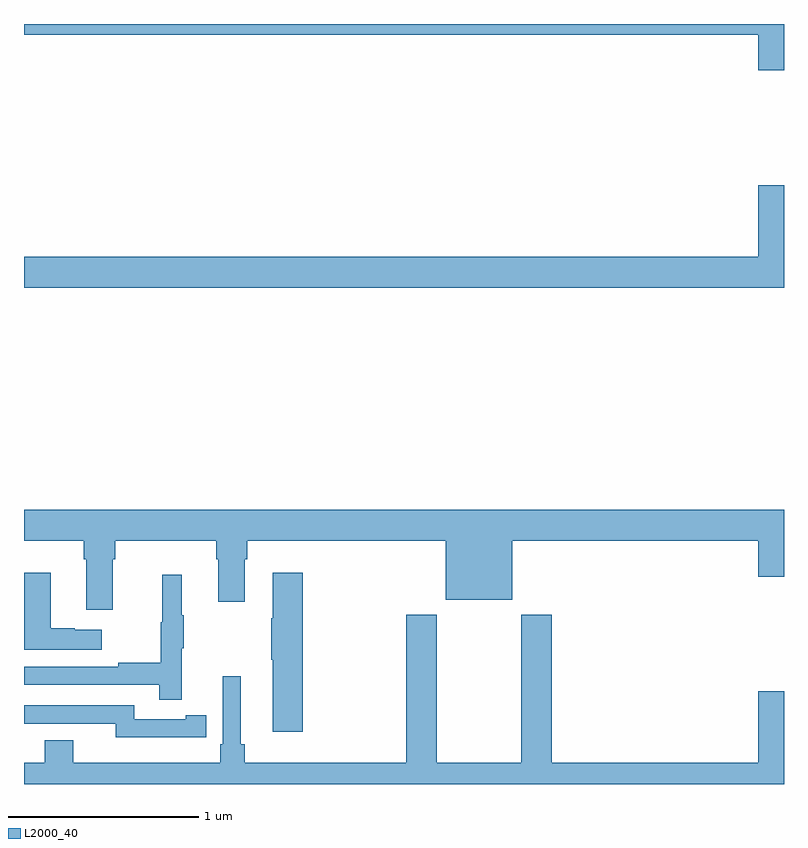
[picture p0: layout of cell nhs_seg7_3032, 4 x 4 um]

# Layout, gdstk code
import gdstk
lib = gdstk.Library(unit=1e-6, precision=1e-09)
def P(c, l, *ps):  # polygons
    for p in ps: c.add(gdstk.Polygon(p, *l))
L2000_40 = (2000, 40)

nhs_seg7_3032 = lib.new_cell('nhs_seg7_3032')
P(nhs_seg7_3032, L2000_40, [(305,1005.944),(308.864,1005.944),(308.864,1005.756),(309,1005.756),(309,1006),(305,1006)],
  [(309,1005.151),(308.864,1005.151),(308.864,1004.776),(305,1004.776),(305,1004.612),(309,1004.612)],
  [(305.467,1003.184),(305.48,1003.184),(305.48,1003.28),(306.011,1003.28),(306.011,1003.184),(306.023,1003.184),(306.023,1002.96),(306.163,1002.96),(306.163,1003.184),(306.176,1003.184),(306.176,1003.28),(307.22,1003.28),(307.22,1002.971),(307.57,1002.971),(307.57,1003.28),(308.864,1003.28),(308.864,1003.092),(309,1003.092),(309,1003.444),(305,1003.444),(305,1003.28),(305.315,1003.28),(305.315,1003.184),(305.327,1003.184),(305.327,1002.918),(305.467,1002.918)],
  [(306.467,1003.111),(306.308,1003.111),(306.308,1002.872),(306.301,1002.872),(306.301,1002.655),(306.308,1002.655),(306.308,1002.276),(306.467,1002.276)],
  [(305.41,1002.811),(305.267,1002.811),(305.267,1002.821),(305.14,1002.821),(305.14,1003.111),(305,1003.111),(305,1002.707),(305.41,1002.707)],
  [(305.831,1002.715),(305.842,1002.715),(305.842,1002.889),(305.831,1002.889),(305.831,1003.102),(305.728,1003.102),(305.728,1002.852),(305.721,1002.852),(305.721,1002.638),(305.497,1002.638),(305.497,1002.618),(305,1002.618),(305,1002.522),(305.713,1002.522),(305.713,1002.444),(305.831,1002.444)],
  [(309,1002.487),(308.864,1002.487),(308.864,1002.112),(307.778,1002.112),(307.778,1002.892),(307.618,1002.892),(307.618,1002.112),(307.173,1002.112),(307.173,1002.892),(307.013,1002.892),(307.013,1002.112),(306.161,1002.112),(306.161,1002.208),(306.142,1002.208),(306.142,1002.568),(306.045,1002.568),(306.045,1002.208),(306.032,1002.208),(306.032,1002.112),(305.26,1002.112),(305.26,1002.229),(305.108,1002.229),(305.108,1002.112),(305,1002.112),(305,1002),(309,1002)],
  [(305.852,1002.246),(305.96,1002.246),(305.96,1002.362),(305.852,1002.362),(305.852,1002.342),(305.58,1002.342),(305.58,1002.414),(305,1002.414),(305,1002.317),(305.024,1002.317),(305.024,1002.318),(305.484,1002.318),(305.484,1002.245),(305.852,1002.245)])

lib.write_gds('nhs_seg7_3032.gds')
